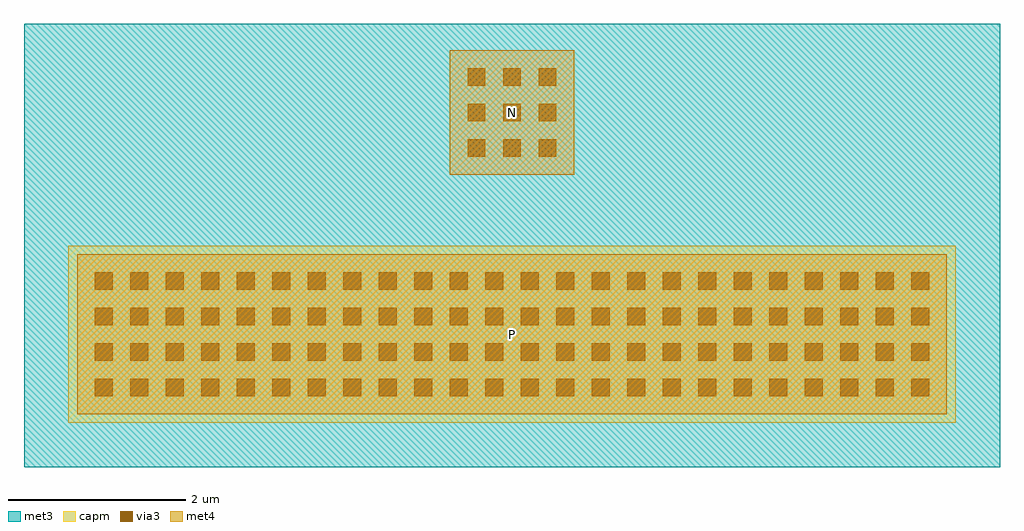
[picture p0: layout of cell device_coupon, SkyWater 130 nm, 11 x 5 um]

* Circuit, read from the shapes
.subckt device_coupon N P
XC1 P N sky130_fd_pr__cap_mim_m3_1 w=10 l=2
.ends

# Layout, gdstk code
import gdstk
lib = gdstk.Library(unit=1e-6, precision=1e-09)
def R(c, l, rs):  # rectangles x0, y0, x1, y1
    for r in rs: c.add(gdstk.rectangle(r[:2], r[2:], *l))
def A(c, l, x, y, w, h, nx, ny, dx, dy):  # array of equal rectangles
    R(c, l, [(x+i*dx, y+j*dy, x+i*dx+w, y+j*dy+h) for i in range(nx) for j in range(ny)])
met3 = (70, 20)
via3 = (70, 44)
met4 = (71, 20)
capm = (89, 44)

device_coupon = lib.new_cell('device_coupon')
R(device_coupon, met3, [(112.5,-456.5,123.5,-451.5)])
A(device_coupon, via3, 113.3, -455.7, 0.2, 0.2, 24, 4, 0.4, 0.4)
A(device_coupon, via3, 117.5, -453, 0.2, 0.2, 3, 3, 0.4, 0.4)
R(device_coupon, met4, [(113.1,-455.9,122.9,-454.1), (117.3,-453.2,118.7,-451.8)])
R(device_coupon, capm, [(113,-456,123,-454)])
device_coupon.add(gdstk.Label('P', (118,-455), layer=71, texttype=5))
device_coupon.add(gdstk.Label('N', (118,-452.5), layer=71, texttype=5))

lib.write_gds('device_coupon.gds')
